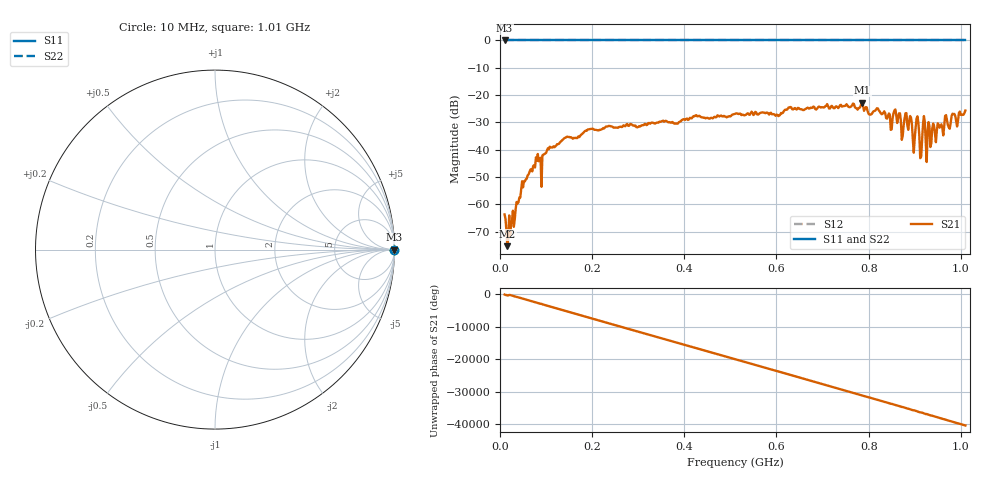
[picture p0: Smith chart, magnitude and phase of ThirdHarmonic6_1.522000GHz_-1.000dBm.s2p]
! 8/16/2025 5:58:39 PM
! C:\ANRITSUVNA\TEMP\TEMP.S2P
! CHANNEL.1
! TR.MEASUREMENT
! RAW.DATA
! RF.CORRECTION.OFF
! AVERAGING.OFF
! IF.BANDWIDTH: 5KHZ
! SWEEPTYPE:  FREQ.SWEEP(Linear)
! Reference Plane Port Info
! PORT:  PORT1  PORT2
! DISTANCE:  0  m  0  m
! TIME:  0  s  0  s
! PHASE.OFFSET:  0  deg.  0  deg.
! LOSS:  0  dB  0  dB
! REF.LOSS:  0  dB  0  dB
! REF.FREQ:  0  Hz  0  Hz
! Power Info
! POWER:  -20  dBm  -20  dBm
! EFF.POWER:  -20  dBm  -20  dBm
! SOURCE.ATTEN:  0  dB  0  dB
! TEST.ATTEN:  0  dB  0  dB
# GHZ S RI R 50.0
! FREQ.GHZ  S11RE  S11IM  S21RE  S21IM  S12RE  S12IM  S22RE  S22IM
!; PortSelection: Port_12
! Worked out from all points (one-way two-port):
!   501 points, 10 MHz to 1.01 GHz, reference 50 ohm
!   highest |S21| = -22.80 dB at 786 MHz (marker M1); lowest = -75.4 dB at 16 MHz (marker M2)
!   lowest |S11| = 0.0 dB at 10 MHz (marker M3)
!   |S11| at or under -10 dB: nowhere
!   |S22| runs from 0.0 to 0.0 dB; largest |S21 - S12| = 1.1
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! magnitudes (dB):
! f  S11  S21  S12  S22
! 10 MHz  0.0  -63.7  0.0  0.0
! 16 MHz  0.0  -75.4  0.0  0.0
! 26 MHz  0.0  -66.3  0.0  0.0
! 50 MHz  0.0  -53.8  0.0  0.0
! 82 MHz  0.0  -41.6  0.0  0.0
! 88 MHz  0.0  -43.0  0.0  0.0
! 106 MHz  0.0  -39.8  0.0  0.0
! 178 MHz  0.0  -34.3  0.0  0.0
! 344 MHz  0.0  -30.1  0.0  0.0
! 510 MHz  0.0  -26.9  0.0  0.0
! 678 MHz  0.0  -24.6  0.0  0.0
! 786 MHz  0.0  -22.8  0.0  0.0
! 844 MHz  0.0  -26.7  0.0  0.0
! 856 MHz  0.0  -25.6  0.0  0.0
! 874 MHz  0.0  -34.9  0.0  0.0
! 890 MHz  0.0  -27.7  0.0  0.0
! 898 MHz  0.0  -41.1  0.0  0.0
! 906 MHz  0.0  -27.8  0.0  0.0
! 914 MHz  0.0  -42.6  0.0  0.0
! 920 MHz  0.0  -27.7  0.0  0.0
! 930 MHz  0.0  -29.9  0.0  0.0
! 1.01 GHz  0.0  -25.7  0.0  0.0
